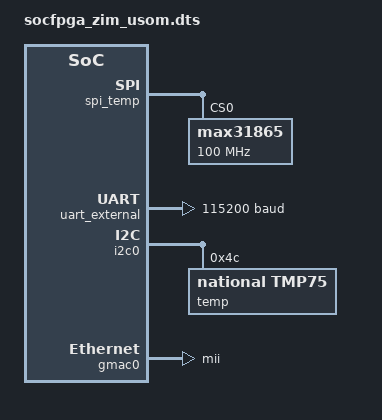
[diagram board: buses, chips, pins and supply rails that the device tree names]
/include/ "socfpga_cyclone5.dts"

/ {
	soc {
		analogboard_0: bemos@ff240000 {
			compatible = "bstsns,zim";
		}; //end bemos@ff240000 (analogboard_0)
		
		spi_temp: spi@ff201040 {
			compatible = "altr,spi-15.1", "altr,spi-1.0";
			reg = <0xff201040 0x20>;
			interrupt-parent = <&intc>;
			interrupts = <0 53 4>;
			clocks = <&l4_main_clk>;
			#address-cells = <1>;
			#size-cells = <0>;
			bus-num = <0>;
			num-chipselect = <1>;
			status = "okay";

			max31865@0 {
				compatible = "max31865";
				reg = <0>;	/* chip select */
				spi-max-frequency = <100000000>;
				enable-dma = <1>;
			};
		};
		
		pio_ab: gpio@ff201060 {
			compatible = "altr,pio-1.0";
			reg = <0xff201060 0x10>;
			interrupts = <0 54 4>;
			altr,gpio-bank-width = <16>;
			altr,interrupt_type = <1>;
			#gpio-cells = <1>;
			gpio-controller;
			#interrupt-cells = <1>;
			interrupt-controller;
		};
		
		uart_external: serial@ff290000 {
			compatible = "ALTR,uart-1.0", "altr,uart-1.0";
			reg = <0xff290000 0x20>;
			interrupt-parent = <&intc>;
			interrupts = <0 55 4>;
			current-speed = <115200>;
			clock-frequency = <50000000>;
		};
	};
};

&i2c0 {
	temp@48 {
		compatible = "national,tmp75";
		reg = <0x4C>;
	};
};

&gmac0 {
	phy-mode = "mii";
	snps,phy-addr = <0x00>;
	rxd0-skew-ps = <0>;
	rxd1-skew-ps = <0>;
	rxd2-skew-ps = <0>;
	rxd3-skew-ps = <0>;
	txen-skew-ps = <0>;
	txc-skew-ps = <2600>;
	rxdv-skew-ps = <0>;
	rxc-skew-ps = <2000>;
	max-frame-size = <3800>;
	status = "okay";
};

&gmac1 {
	status = "disabled";
};
